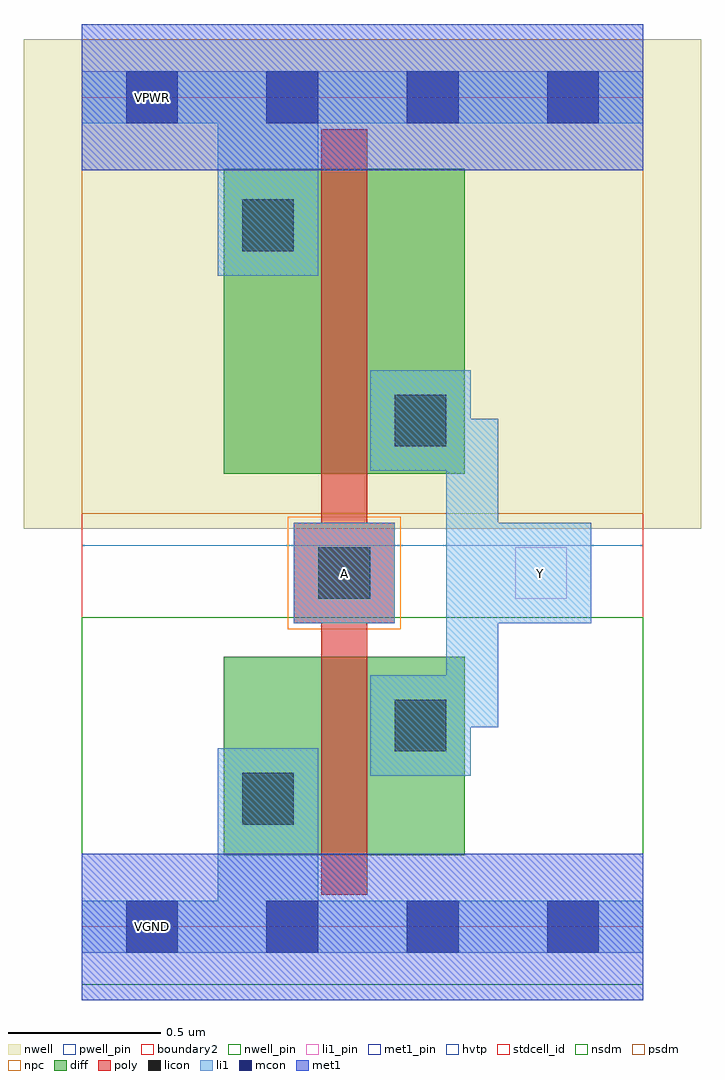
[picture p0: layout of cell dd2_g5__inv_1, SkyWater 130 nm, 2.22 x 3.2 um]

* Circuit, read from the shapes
.subckt dd2_g5__inv_1 A VGND VNB VPB VPWR Y
XM1 Y A VGND VNB sky130_fd_pr__nfet_01v8 w=0.65 l=0.15
XM2 Y A VPWR VPB sky130_fd_pr__pfet_01v8_hvt w=1 l=0.15
.ends

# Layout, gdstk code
import gdstk
lib = gdstk.Library(unit=1e-6, precision=1e-09)
def R(c, l, rs):  # rectangles x0, y0, x1, y1
    for r in rs: c.add(gdstk.rectangle(r[:2], r[2:], *l))
def A(c, l, x, y, w, h, nx, ny, dx, dy):  # array of equal rectangles
    R(c, l, [(x+i*dx, y+j*dy, x+i*dx+w, y+j*dy+h) for i in range(nx) for j in range(ny)])
nwell_pin = (64, 16)
nwell = (64, 20)
diff = (65, 20)
poly = (66, 20)
licon = (66, 44)
li1_pin = (67, 16)
li1 = (67, 20)
mcon = (67, 44)
met1_pin = (68, 16)
met1 = (68, 20)
hvtp = (78, 44)
stdcell_id = (81, 4)
nsdm = (93, 44)
psdm = (94, 20)
npc = (95, 20)
pwell_pin = (122, 16)
boundary2 = (236, 0)

dd2_g5__inv_1 = lib.new_cell('dd2_g5__inv_1')
R(dd2_g5__inv_1, nwell_pin, [(0.145,2.635,0.315,2.805)])
R(dd2_g5__inv_1, nwell, [(-0.19,1.305,2.03,2.91)])
R(dd2_g5__inv_1, diff, [(0.465,0.235,1.255,0.885), (0.465,1.485,1.255,2.485)])
R(dd2_g5__inv_1, poly, [(0.785,0.105,0.935,2.615), (0.695,0.995,1.025,1.325)])
R(dd2_g5__inv_1, licon, [(0.525,0.335,0.695,0.505), (1.025,0.575,1.195,0.745), (0.775,1.075,0.945,1.245), (1.025,1.575,1.195,1.745), (0.525,2.215,0.695,2.385)])
R(dd2_g5__inv_1, li1_pin, [(0.145,-0.085,0.315,0.085), (0.775,1.075,0.945,1.245), (1.42,1.075,1.59,1.245), (0.145,2.635,0.315,2.805)])
R(dd2_g5__inv_1, li1, [(0,-0.085,1.84,0.085), (0.445,0.085,0.775,0.585), (0.945,0.495,1.275,0.655), (0.945,0.655,1.365,0.825), (1.195,0.825,1.365,0.995), (0.695,0.995,1.025,1.325), (1.195,0.995,1.67,1.325), (1.195,1.325,1.365,1.495), (0.945,1.495,1.365,1.665), (0.945,1.665,1.275,1.825), (0.445,2.135,0.775,2.635), (0,2.635,1.84,2.805)])
A(dd2_g5__inv_1, mcon, 0.145, -0.085, 0.17, 0.17, 4, 2, 0.46, 2.72)
R(dd2_g5__inv_1, met1_pin, [(0.145,-0.085,0.315,0.085), (0.145,2.635,0.315,2.805)])
R(dd2_g5__inv_1, met1, [(0,-0.24,1.84,0.24), (0,2.48,1.84,2.96)])
R(dd2_g5__inv_1, hvtp, [(0,1.25,1.84,2.72)])
R(dd2_g5__inv_1, stdcell_id, [(0,0,1.84,2.72)])
R(dd2_g5__inv_1, nsdm, [(0,-0.19,1.84,1.015)])
R(dd2_g5__inv_1, psdm, [(0,1.355,1.84,2.91)])
R(dd2_g5__inv_1, npc, [(0.675,0.975,1.045,1.345)])
R(dd2_g5__inv_1, pwell_pin, [(0.145,-0.085,0.315,0.085)])
R(dd2_g5__inv_1, boundary2, [(0,0,1.84,2.72)])
dd2_g5__inv_1.add(gdstk.Label('VPWR', (0.23,2.72), layer=68, texttype=5))
dd2_g5__inv_1.add(gdstk.Label('VGND', (0.23,0), layer=68, texttype=5))
dd2_g5__inv_1.add(gdstk.Label('VPWR', (0.23,2.72), layer=67, texttype=5))
dd2_g5__inv_1.add(gdstk.Label('VGND', (0.23,0), layer=67, texttype=5))
dd2_g5__inv_1.add(gdstk.Label('A', (0.86,1.16), layer=67, texttype=5))
dd2_g5__inv_1.add(gdstk.Label('Y', (1.505,1.16), layer=67, texttype=5))
dd2_g5__inv_1.add(gdstk.Label('VPB', (0.23,2.72), layer=64, texttype=5))
dd2_g5__inv_1.add(gdstk.Label('VNB', (0.23,0), layer=64, texttype=59))

lib.write_gds('dd2_g5__inv_1.gds')
